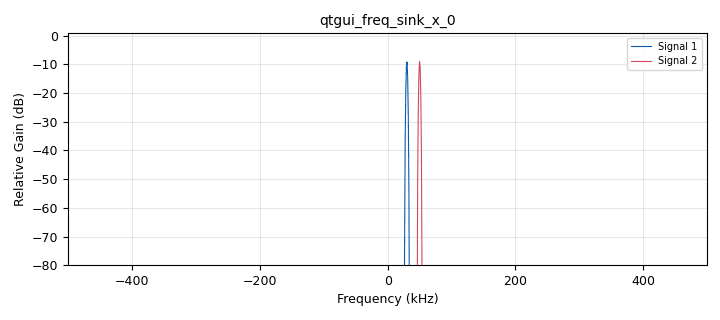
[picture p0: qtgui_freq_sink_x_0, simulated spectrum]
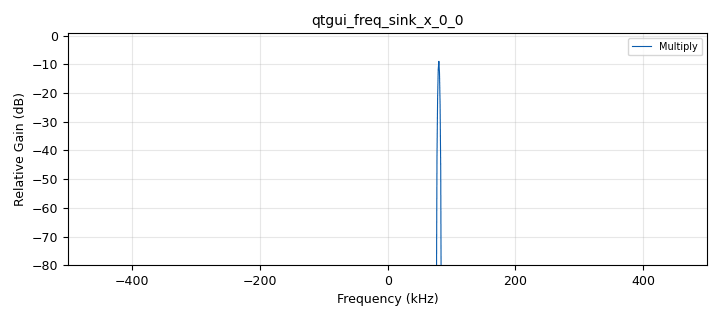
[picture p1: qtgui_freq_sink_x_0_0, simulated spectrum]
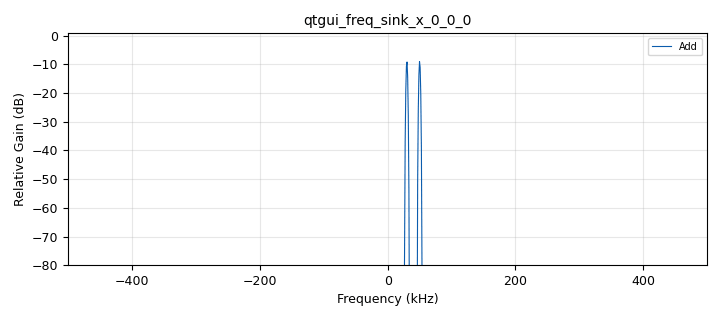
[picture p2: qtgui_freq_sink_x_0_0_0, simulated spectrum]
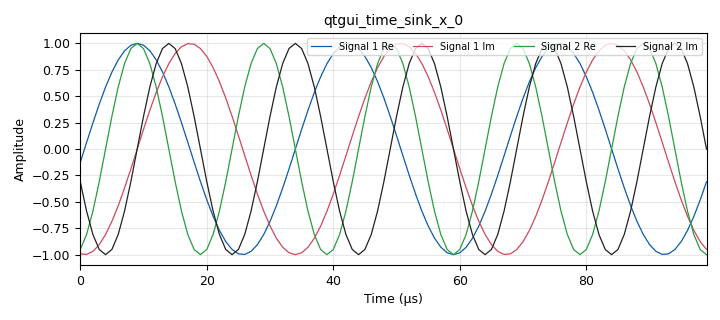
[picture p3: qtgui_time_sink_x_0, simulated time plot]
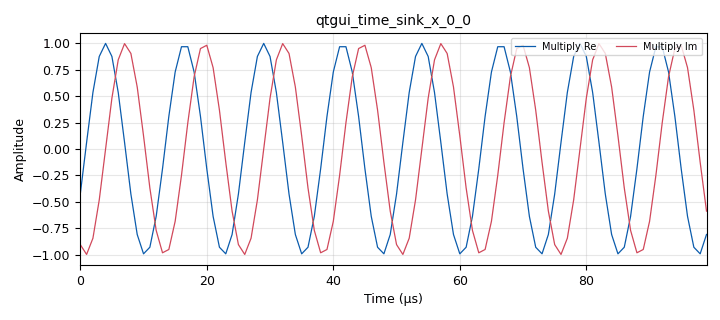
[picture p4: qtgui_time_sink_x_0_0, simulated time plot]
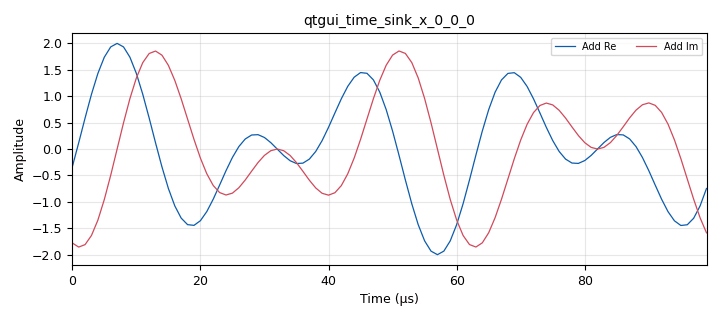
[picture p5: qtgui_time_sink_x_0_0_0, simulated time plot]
options:
  parameters:
    author: jason
    generate_options: qt_gui
    id: basicSDR
    output_language: python
    title: Sin Cosine Math
  states: {}

blocks:
- name: freq1_kHz
  id: variable_qtgui_range
  parameters:
    gui_hint: 0,0,1,2
    label: Frequency 1 (kHz)
    orient: Qt.Horizontal
    start: '-500'
    step: '1'
    stop: '500'
    value: '30'
  states: {}
- name: freq2_kHz
  id: variable_qtgui_range
  parameters:
    gui_hint: 1,0,1,2
    label: Frequency 2 (kHz)
    orient: Qt.Horizontal
    start: '-500'
    step: '1'
    stop: '500'
    value: '50'
  states: {}
- name: phase
  id: variable_qtgui_range
  parameters:
    gui_hint: 2,0,1,2
    label: Phase (radians)
    orient: Qt.Horizontal
    start: '0'
    step: '0.01'
    stop: 2*math.pi
    value: '0'
  states: {}
- name: samp_rate
  id: variable
  parameters:
    value: 1e6
  states: {}
- name: analog_sig_source_x_0
  id: analog_sig_source_x
  parameters:
    amp: '1'
    freq: freq1_kHz*1000
    offset: '0'
    phase: '0'
    samp_rate: samp_rate
    type: complex
    waveform: analog.GR_COS_WAVE
  states: {}
- name: analog_sig_source_x_0_0
  id: analog_sig_source_x
  parameters:
    amp: '1'
    freq: freq2_kHz*1000
    offset: '0'
    phase: phase
    samp_rate: samp_rate
    type: complex
    waveform: analog.GR_COS_WAVE
  states: {}
- name: blocks_add_xx_0
  id: blocks_add_xx
  parameters:
    type: complex
  states: {}
- name: blocks_multiply_xx_0
  id: blocks_multiply_xx
  parameters:
    type: complex
  states: {}
- name: blocks_throttle_0
  id: blocks_throttle
  parameters:
    samples_per_second: samp_rate
    type: complex
  states: {}
- name: blocks_throttle_0_0
  id: blocks_throttle
  parameters:
    samples_per_second: samp_rate
    type: complex
  states: {}
- name: import_0
  id: import
  parameters:
    imports: import math
  states: {}
- name: qtgui_freq_sink_x_0
  id: qtgui_freq_sink_x
  parameters:
    bw: samp_rate
    fc: '0'
    fftsize: '1024'
    freqhalf: 'False'
    gui_hint: 3,1,3,1
    label1: Signal 1
    label2: Signal 2
    name: ''
    nconnections: '2'
    type: complex
    wintype: firdes.WIN_BLACKMAN_hARRIS
    ymax: '1'
    ymin: '-80'
  states: {}
- name: qtgui_freq_sink_x_0_0
  id: qtgui_freq_sink_x
  parameters:
    bw: samp_rate
    fc: '0'
    fftsize: '1024'
    freqhalf: 'False'
    gui_hint: 9,1,3,1
    label1: Multiply
    type: complex
    wintype: firdes.WIN_BLACKMAN_hARRIS
    ymax: '1'
    ymin: '-80'
  states: {}
- name: qtgui_freq_sink_x_0_0_0
  id: qtgui_freq_sink_x
  parameters:
    bw: samp_rate
    fc: '0'
    fftsize: '1024'
    freqhalf: 'False'
    gui_hint: 6,1,3,1
    label1: Add
    type: complex
    wintype: firdes.WIN_BLACKMAN_hARRIS
    ymax: '1'
    ymin: '-80'
  states: {}
- name: qtgui_time_sink_x_0
  id: qtgui_time_sink_x
  parameters:
    entags: 'False'
    gui_hint: 3,0,3,1
    label1: ' Signal 1 Re'
    label2: Signal 1 Im
    label3: Signal 2 Re
    label4: Signal 2 Im
    name: ''
    nconnections: '2'
    size: '100'
    srate: samp_rate
    tr_mode: qtgui.TRIG_MODE_AUTO
    type: complex
    ymax: '1.1'
    ymin: '-1.1'
  states: {}
- name: qtgui_time_sink_x_0_0
  id: qtgui_time_sink_x
  parameters:
    gui_hint: 9,0,3,1
    label1: ' Multiply Re'
    label2: ' Multiply Im'
    size: '100'
    srate: samp_rate
    tr_mode: qtgui.TRIG_MODE_AUTO
    type: complex
    ymax: '1.1'
    ymin: '-1.1'
  states: {}
- name: qtgui_time_sink_x_0_0_0
  id: qtgui_time_sink_x
  parameters:
    gui_hint: 6,0,3,1
    label1: ' Add Re'
    label2: ' Add Im'
    size: '100'
    srate: samp_rate
    tr_mode: qtgui.TRIG_MODE_AUTO
    type: complex
    ymax: '2.2'
    ymin: '-2.2'
  states: {}

connections:
- [analog_sig_source_x_0, '0', blocks_throttle_0, '0']
- [analog_sig_source_x_0_0, '0', blocks_throttle_0_0, '0']
- [blocks_add_xx_0, '0', qtgui_freq_sink_x_0_0_0, '0']
- [blocks_add_xx_0, '0', qtgui_time_sink_x_0_0_0, '0']
- [blocks_multiply_xx_0, '0', qtgui_freq_sink_x_0_0, '0']
- [blocks_multiply_xx_0, '0', qtgui_time_sink_x_0_0, '0']
- [blocks_throttle_0, '0', blocks_add_xx_0, '0']
- [blocks_throttle_0, '0', blocks_multiply_xx_0, '0']
- [blocks_throttle_0, '0', qtgui_freq_sink_x_0, '0']
- [blocks_throttle_0, '0', qtgui_time_sink_x_0, '0']
- [blocks_throttle_0_0, '0', blocks_add_xx_0, '1']
- [blocks_throttle_0_0, '0', blocks_multiply_xx_0, '1']
- [blocks_throttle_0_0, '0', qtgui_freq_sink_x_0, '1']
- [blocks_throttle_0_0, '0', qtgui_time_sink_x_0, '1']

metadata:
  file_format: 1
